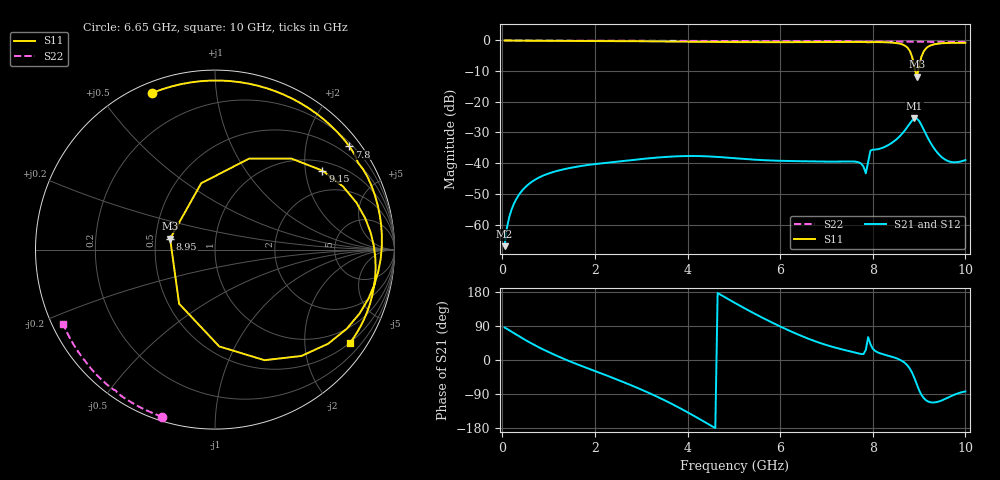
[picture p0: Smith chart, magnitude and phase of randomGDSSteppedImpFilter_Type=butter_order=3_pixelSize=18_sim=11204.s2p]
! freq	dB(S11)	phase(S11)	dB(S12)	phase(S12)
!  dB(S21)	phase(S21)	dB(S22)	phase(S22)
!S-par simulation data
#  GHz  S  DB  R 50
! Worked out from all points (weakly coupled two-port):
!   200 points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, 50 MHz to 10 GHz, reference 50 ohm
!   highest |S21| = -25.43 dB at 8.9 GHz (marker M1); lowest = -67.1 dB at 50 MHz (marker M2)
!   lowest |S11| = -11.8 dB at 8.95 GHz (marker M3), VSWR 1.69, Z = 29.8 + j3.87 ohm
!   |S11| at or under -10 dB: 8.92 GHz to 8.977 GHz (57.17 MHz wide, 0.639 % of centre)
!   |S22| runs from -0.5 to 0.0 dB; largest |S21 - S12| = 0
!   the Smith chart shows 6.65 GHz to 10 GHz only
!   S11 on the Smith chart (normalised r, x): 6.65 GHz: 0.05, +0.68; 7.8 GHz: 0.28, +2.92; 8.95 GHz: 0.60, +0.08; 9.15 GHz: 1.26, +2.48; 10 GHz: 0.49, -3.12
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0.05  -0.01 -6.9  -67.06 85.8  -67.06 85.8  -0.00 -0.9
0.25  -0.05 -33.9  -53.27 70.8  -53.27 70.8  -0.01 -4.5
0.75  -0.11 -95.2  -45.02 36.0  -45.02 36.0  -0.02 -13.3
1.25  -0.14 -145.6  -42.27 7.2  -42.27 7.2  -0.03 -22.1
1.75  -0.16 171.2  -40.80 -17.5  -40.80 -17.5  -0.04 -30.7
2.65  -0.22 97.9  -39.22 -60.0  -39.22 -60.0  -0.06 -46.0
3.4  -0.32 31.5  -38.11 -100.1  -38.11 -100.1  -0.08 -58.3
3.85  -0.38 -11.6  -37.72 -128.0  -37.72 -128.0  -0.09 -65.6
4.35  -0.46 -60.1  -37.73 -162.1  -37.73 -162.1  -0.11 -73.4
5.05  -0.53 -124.5  -38.42 148.8  -38.42 148.8  -0.13 -84.1
5.8  -0.56 173.8  -39.13 100.3  -39.13 100.3  -0.16 -95.3
6.65  -0.54 111.8  -39.42 54.3  -39.42 54.3  -0.21 -107.5
6.7  -0.53 108.4  -39.43 52.0  -39.43 52.0  -0.21 -108.2
7.8  -0.50 37.5  -41.13 15.6  -41.13 15.6  -0.30 -123.8
8.35  -0.64 0.8  -33.98 10.8  -33.98 10.8  -0.34 -131.2
8.65  -1.35 -31.0  -30.10 -3.9  -30.10 -3.9  -0.37 -135.3
8.8  -3.41 -65.9  -27.05 -22.7  -27.05 -22.7  -0.39 -137.4
8.9  -8.83 -123.5  -25.43 -47.9  -25.43 -47.9  -0.41 -138.8
8.95  -11.79 166.4  -25.44 -64.1  -25.44 -64.1  -0.41 -139.4
9.05  -5.33 69.5  -27.53 -91.8  -27.53 -91.8  -0.42 -140.8
9.15  -2.58 36.4  -30.61 -106.3  -30.61 -106.3  -0.43 -142.1
10  -0.78 -34.8  -39.01 -83.1  -39.01 -83.1  -0.52 -154.0
